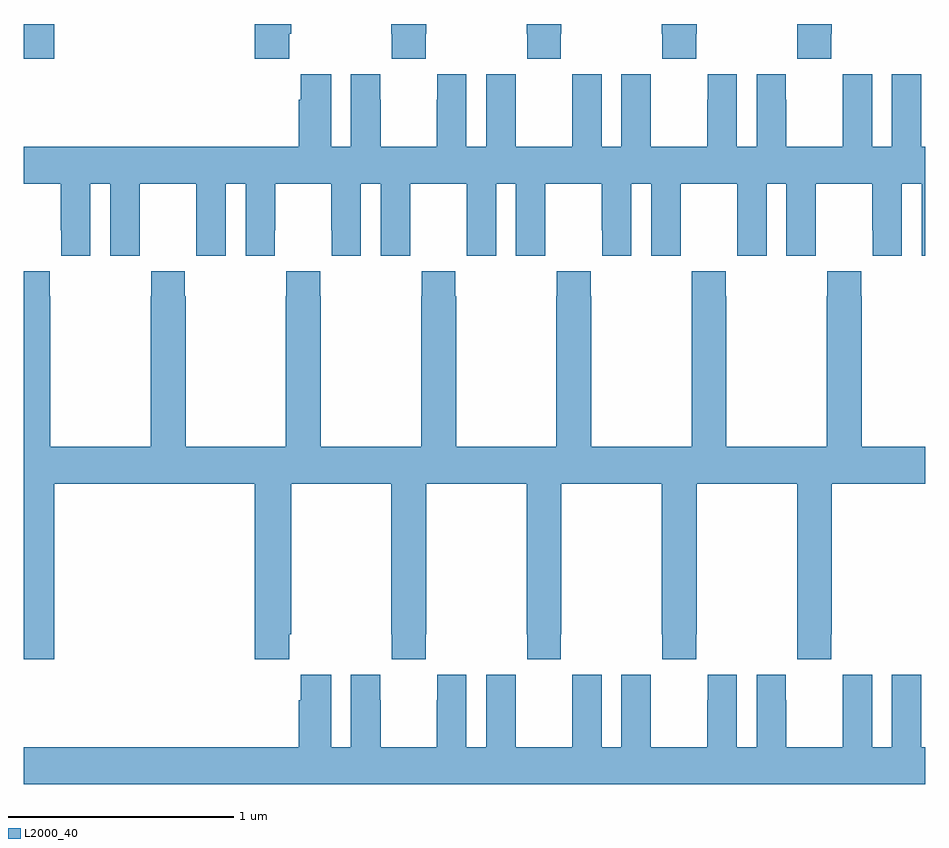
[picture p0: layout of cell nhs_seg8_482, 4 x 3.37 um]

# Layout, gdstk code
import gdstk
lib = gdstk.Library(unit=1e-6, precision=1e-09)
def R(c, l, rs):  # rectangles x0, y0, x1, y1
    for r in rs: c.add(gdstk.rectangle(r[:2], r[2:], *l))
def P(c, l, *ps):  # polygons
    for p in ps: c.add(gdstk.Polygon(p, *l))
L2000_40 = (2000, 40)

nhs_seg8_482 = lib.new_cell('nhs_seg8_482')
R(nhs_seg8_482, L2000_40, [(143,1091.745,143.135,1091.9)])
P(nhs_seg8_482, L2000_40, [(144.179,1091.857),(144.186,1091.857),(144.186,1091.9),(144.026,1091.9),(144.026,1091.745),(144.179,1091.745)],
  [(144.783,1091.857),(144.786,1091.857),(144.786,1091.9),(144.631,1091.9),(144.631,1091.857),(144.633,1091.857),(144.633,1091.745),(144.783,1091.745)],
  [(145.383,1091.857),(145.386,1091.857),(145.386,1091.9),(145.231,1091.9),(145.231,1091.857),(145.233,1091.857),(145.233,1091.745),(145.383,1091.745)],
  [(145.983,1091.857),(145.986,1091.857),(145.986,1091.9),(145.831,1091.9),(145.831,1091.857),(145.833,1091.857),(145.833,1091.745),(145.983,1091.745)],
  [(146.583,1091.857),(146.586,1091.857),(146.586,1091.9),(146.431,1091.9),(146.431,1091.857),(146.433,1091.857),(146.433,1091.745),(146.583,1091.745)],
  [(146.296,1091.192),(146.384,1091.192),(146.384,1090.872),(146.514,1090.872),(146.514,1090.984),(146.515,1090.984),(146.515,1091.192),(146.765,1091.192),(146.765,1090.984),(146.766,1090.984),(146.766,1090.872),(146.896,1090.872),(146.896,1091.192),(146.984,1091.192),(146.984,1090.872),(147,1090.872),(147,1091.356),(146.983,1091.356),(146.983,1091.564),(146.982,1091.564),(146.982,1091.677),(146.852,1091.677),(146.852,1091.356),(146.764,1091.356),(146.764,1091.677),(146.634,1091.677),(146.634,1091.564),(146.633,1091.564),(146.633,1091.356),(146.383,1091.356),(146.383,1091.564),(146.382,1091.564),(146.382,1091.677),(146.252,1091.677),(146.252,1091.356),(146.164,1091.356),(146.164,1091.677),(146.034,1091.677),(146.034,1091.564),(146.033,1091.564),(146.033,1091.356),(145.783,1091.356),(145.783,1091.564),(145.782,1091.564),(145.782,1091.677),(145.652,1091.677),(145.652,1091.356),(145.564,1091.356),(145.564,1091.677),(145.434,1091.677),(145.434,1091.564),(145.433,1091.564),(145.433,1091.356),(145.183,1091.356),(145.183,1091.564),(145.182,1091.564),(145.182,1091.677),(145.052,1091.677),(145.052,1091.356),(144.964,1091.356),(144.964,1091.677),(144.834,1091.677),(144.834,1091.564),(144.833,1091.564),(144.833,1091.356),(144.583,1091.356),(144.583,1091.564),(144.582,1091.564),(144.582,1091.677),(144.452,1091.677),(144.452,1091.356),(144.364,1091.356),(144.364,1091.677),(144.23,1091.677),(144.23,1091.564),(144.221,1091.564),(144.221,1091.356),(143,1091.356),(143,1091.192),(143.165,1091.192),(143.165,1090.984),(143.166,1090.984),(143.166,1090.872),(143.296,1090.872),(143.296,1091.192),(143.384,1091.192),(143.384,1090.872),(143.514,1090.872),(143.514,1090.984),(143.515,1090.984),(143.515,1091.192),(143.765,1091.192),(143.765,1090.984),(143.766,1090.984),(143.766,1090.872),(143.896,1090.872),(143.896,1091.192),(143.984,1091.192),(143.984,1090.872),(144.114,1090.872),(144.114,1090.984),(144.115,1090.984),(144.115,1091.192),(144.365,1091.192),(144.365,1090.984),(144.366,1090.984),(144.366,1090.872),(144.496,1090.872),(144.496,1091.192),(144.584,1091.192),(144.584,1090.872),(144.714,1090.872),(144.714,1090.984),(144.715,1090.984),(144.715,1091.192),(144.965,1091.192),(144.965,1090.984),(144.966,1090.984),(144.966,1090.872),(145.096,1090.872),(145.096,1091.192),(145.184,1091.192),(145.184,1090.872),(145.314,1090.872),(145.314,1090.984),(145.315,1090.984),(145.315,1091.192),(145.565,1091.192),(145.565,1090.984),(145.566,1090.984),(145.566,1090.872),(145.696,1090.872),(145.696,1091.192),(145.784,1091.192),(145.784,1090.872),(145.914,1090.872),(145.914,1090.984),(145.915,1090.984),(145.915,1091.192),(146.165,1091.192),(146.165,1090.984),(146.166,1090.984),(146.166,1090.872),(146.296,1090.872)],
  [(143.565,1090.804),(143.565,1090.691),(143.563,1090.691),(143.563,1090.024),(143.118,1090.024),(143.118,1090.691),(143.115,1090.691),(143.115,1090.804),(143,1090.804),(143,1089.081),(143.135,1089.081),(143.135,1089.86),(144.026,1089.86),(144.026,1089.081),(144.179,1089.081),(144.179,1089.193),(144.186,1089.193),(144.186,1089.86),(144.631,1089.86),(144.631,1089.193),(144.633,1089.193),(144.633,1089.081),(144.783,1089.081),(144.783,1089.193),(144.786,1089.193),(144.786,1089.86),(145.231,1089.86),(145.231,1089.193),(145.233,1089.193),(145.233,1089.081),(145.383,1089.081),(145.383,1089.193),(145.386,1089.193),(145.386,1089.86),(145.831,1089.86),(145.831,1089.193),(145.833,1089.193),(145.833,1089.081),(145.983,1089.081),(145.983,1089.193),(145.986,1089.193),(145.986,1089.86),(146.431,1089.86),(146.431,1089.193),(146.433,1089.193),(146.433,1089.081),(146.583,1089.081),(146.583,1089.193),(146.586,1089.193),(146.586,1089.86),(147,1089.86),(147,1090.024),(146.718,1090.024),(146.718,1090.691),(146.715,1090.691),(146.715,1090.804),(146.565,1090.804),(146.565,1090.691),(146.563,1090.691),(146.563,1090.024),(146.118,1090.024),(146.118,1090.691),(146.115,1090.691),(146.115,1090.804),(145.965,1090.804),(145.965,1090.691),(145.963,1090.691),(145.963,1090.024),(145.518,1090.024),(145.518,1090.691),(145.515,1090.691),(145.515,1090.804),(145.365,1090.804),(145.365,1090.691),(145.363,1090.691),(145.363,1090.024),(144.918,1090.024),(144.918,1090.691),(144.915,1090.691),(144.915,1090.804),(144.765,1090.804),(144.765,1090.691),(144.763,1090.691),(144.763,1090.024),(144.318,1090.024),(144.318,1090.691),(144.315,1090.691),(144.315,1090.804),(144.165,1090.804),(144.165,1090.691),(144.163,1090.691),(144.163,1090.024),(143.718,1090.024),(143.718,1090.691),(143.715,1090.691),(143.715,1090.804)],
  [(147,1088.692),(146.983,1088.692),(146.983,1088.9),(146.982,1088.9),(146.982,1089.013),(146.852,1089.013),(146.852,1088.692),(146.764,1088.692),(146.764,1089.013),(146.634,1089.013),(146.634,1088.9),(146.633,1088.9),(146.633,1088.692),(146.383,1088.692),(146.383,1088.9),(146.382,1088.9),(146.382,1089.013),(146.252,1089.013),(146.252,1088.692),(146.164,1088.692),(146.164,1089.013),(146.034,1089.013),(146.034,1088.9),(146.033,1088.9),(146.033,1088.692),(145.783,1088.692),(145.783,1088.9),(145.782,1088.9),(145.782,1089.013),(145.652,1089.013),(145.652,1088.692),(145.564,1088.692),(145.564,1089.013),(145.434,1089.013),(145.434,1088.9),(145.433,1088.9),(145.433,1088.692),(145.183,1088.692),(145.183,1088.9),(145.182,1088.9),(145.182,1089.013),(145.052,1089.013),(145.052,1088.692),(144.964,1088.692),(144.964,1089.013),(144.834,1089.013),(144.834,1088.9),(144.833,1088.9),(144.833,1088.692),(144.583,1088.692),(144.583,1088.9),(144.582,1088.9),(144.582,1089.013),(144.452,1089.013),(144.452,1088.692),(144.364,1088.692),(144.364,1089.013),(144.23,1089.013),(144.23,1088.9),(144.221,1088.9),(144.221,1088.692),(143,1088.692),(143,1088.528),(147,1088.528)])

lib.write_gds('nhs_seg8_482.gds')
